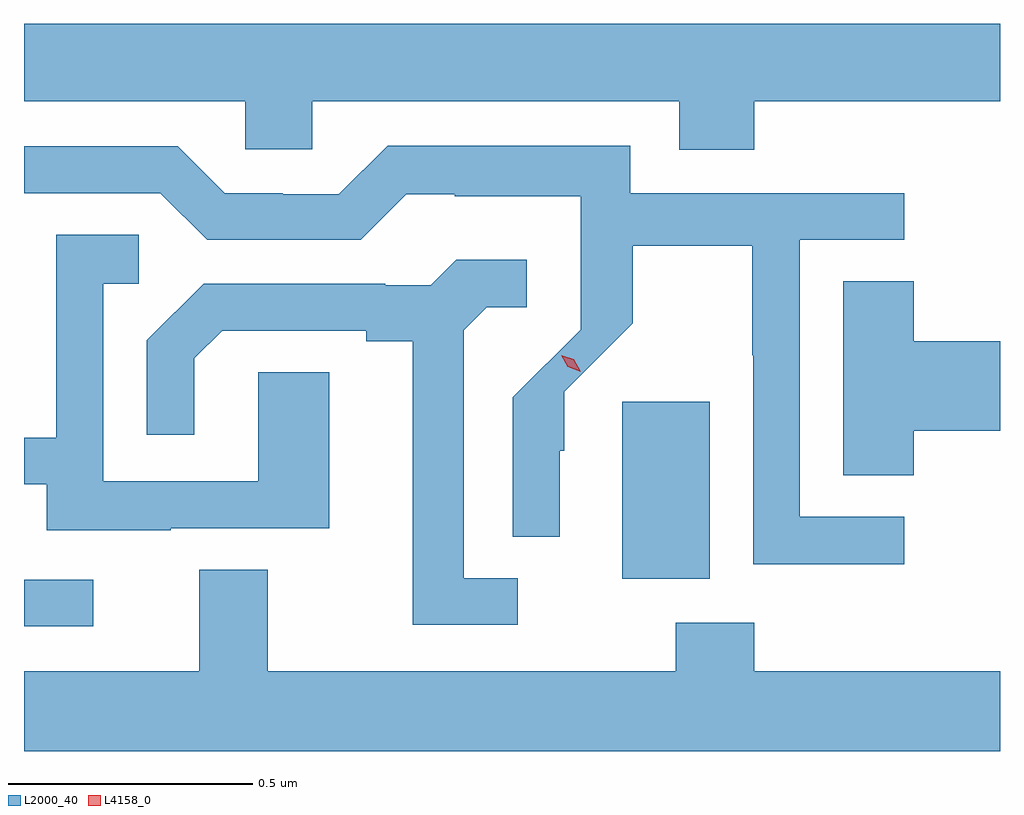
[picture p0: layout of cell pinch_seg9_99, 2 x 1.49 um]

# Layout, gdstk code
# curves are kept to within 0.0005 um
import gdstk
lib = gdstk.Library(unit=1e-6, precision=1e-09)
def R(c, l, rs):  # rectangles x0, y0, x1, y1
    for r in rs: c.add(gdstk.rectangle(r[:2], r[2:], *l))
def P(c, l, *ps):  # polygons
    for p in ps: c.add(gdstk.Polygon(p, *l))
L2000_40 = (2000, 40)
L4158_0 = (4158, 0)

pinch_seg9_99 = lib.new_cell('pinch_seg9_99')
R(pinch_seg9_99, L2000_40, [(1144.026,1195.344,1144.168,1195.44), (1145.252,1195.442,1145.431,1195.804)])
P(pinch_seg9_99, L2000_40, [(1145.522,1196.42),(1146.026,1196.42),(1146.026,1196.579),(1144.026,1196.579),(1144.026,1196.42),(1144.479,1196.42),(1144.479,1196.322),(1144.617,1196.322),(1144.617,1196.42),(1145.369,1196.42),(1145.369,1196.321),(1145.522,1196.321)],
  [(1145.83,1195.569),(1145.616,1195.569),(1145.616,1196.136),(1145.83,1196.136),(1145.83,1196.232),(1145.268,1196.232),(1145.268,1196.329),(1144.771,1196.329),(1144.671,1196.229),(1144.556,1196.229),(1144.556,1196.232),(1144.437,1196.232),(1144.341,1196.328),(1144.026,1196.328),(1144.026,1196.232),(1144.305,1196.232),(1144.401,1196.136),(1144.716,1196.136),(1144.809,1196.229),(1144.909,1196.229),(1144.909,1196.225),(1145.167,1196.225),(1145.167,1195.952),(1145.028,1195.814),(1145.028,1195.528),(1145.124,1195.528),(1145.124,1195.704),(1145.133,1195.704),(1145.133,1195.825),(1145.273,1195.965),(1145.273,1196.124),(1145.518,1196.124),(1145.518,1195.9),(1145.52,1195.9),(1145.52,1195.471),(1145.83,1195.471)],
  [(1144.327,1195.545),(1144.651,1195.545),(1144.651,1195.865),(1144.506,1195.865),(1144.506,1195.641),(1144.188,1195.641),(1144.188,1196.046),(1144.261,1196.046),(1144.261,1196.147),(1144.092,1196.147),(1144.092,1195.731),(1144.026,1195.731),(1144.026,1195.635),(1144.073,1195.635),(1144.073,1195.541),(1144.327,1195.541)],
  [(1145.038,1195.443),(1144.927,1195.443),(1144.927,1195.951),(1144.974,1195.998),(1145.056,1195.998),(1145.056,1196.095),(1144.912,1196.095),(1144.86,1196.043),(1144.766,1196.043),(1144.766,1196.046),(1144.394,1196.046),(1144.278,1195.93),(1144.278,1195.737),(1144.375,1195.737),(1144.375,1195.893),(1144.432,1195.95),(1144.727,1195.95),(1144.727,1195.928),(1144.823,1195.928),(1144.823,1195.347),(1145.038,1195.347)],
  [(1145.849,1195.745),(1146.026,1195.745),(1146.026,1195.928),(1145.849,1195.928),(1145.849,1196.051),(1145.705,1196.051),(1145.705,1195.654),(1145.849,1195.654)],
  [(1146.026,1195.252),(1145.522,1195.252),(1145.522,1195.351),(1145.362,1195.351),(1145.362,1195.252),(1144.525,1195.252),(1144.525,1195.46),(1144.385,1195.46),(1144.385,1195.252),(1144.026,1195.252),(1144.026,1195.088),(1146.026,1195.088)])
P(pinch_seg9_99, L4158_0, [(1145.167,1195.866),(1145.14,1195.876),(1145.127,1195.9),(1145.127,1195.9),(1145.127,1195.9),(1145.153,1195.891),(1145.167,1195.866),(1145.167,1195.866)])

lib.write_gds('pinch_seg9_99.gds')
